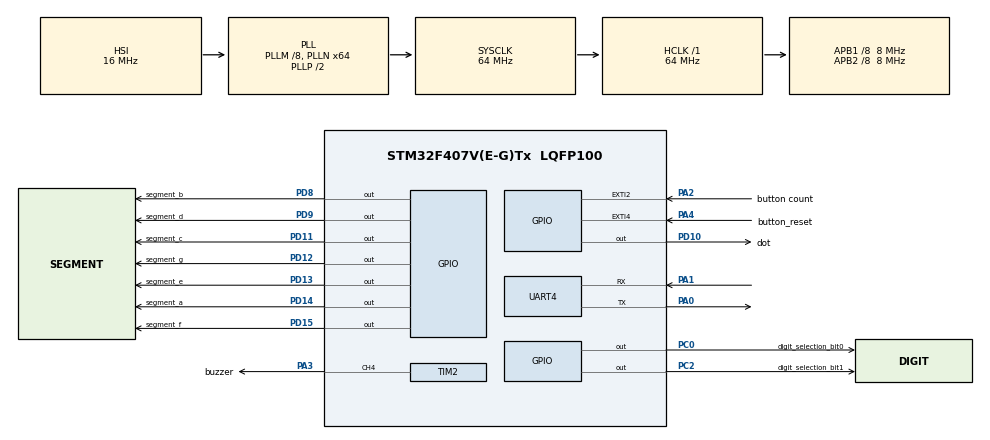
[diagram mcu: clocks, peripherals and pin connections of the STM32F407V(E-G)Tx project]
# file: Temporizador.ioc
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Mcu.Family=STM32F4
Mcu.Name=STM32F407V(E-G)Tx
Mcu.Package=LQFP100
NVIC.EXTI2_IRQn=true\:0\:0\:false\:false\:true\:true\:true\:true
NVIC.EXTI4_IRQn=true\:0\:0\:false\:false\:true\:true\:true\:true
NVIC.PriorityGroup=NVIC_PRIORITYGROUP_4
NVIC.TIM1_UP_TIM10_IRQn=true\:0\:0\:false\:false\:true\:true\:true\:true
NVIC.TIM2_IRQn=true\:0\:0\:false\:false\:true\:true\:true\:true
NVIC.UART4_IRQn=true\:0\:0\:false\:false\:true\:true\:true\:true
PA0-WKUP.Mode=Asynchronous
PA0-WKUP.Signal=UART4_TX
PA1.Mode=Asynchronous
PA1.Signal=UART4_RX
PA2.GPIO_Label=button count
PA2.GPIO_ModeDefaultEXTI=GPIO_MODE_IT_FALLING
PA2.Signal=GPXTI2
PA3.GPIO_Label=buzzer
PA3.Signal=S_TIM2_CH4
PA4.GPIO_Label=button_reset
PA4.GPIO_ModeDefaultEXTI=GPIO_MODE_IT_FALLING
PA4.Signal=GPXTI4
PC0.GPIO_Label=digit_selection_bit0
PC0.Signal=GPIO_Output
PC2.GPIO_Label=digit_selection_bit1
PC2.Signal=GPIO_Output
PD10.GPIO_Label=dot
PD10.Signal=GPIO_Output
PD11.GPIO_Label=segment_c
PD11.Signal=GPIO_Output
PD12.GPIO_Label=segment_g
PD12.Signal=GPIO_Output
PD13.GPIO_Label=segment_e
PD13.Signal=GPIO_Output
PD14.GPIO_Label=segment_a
PD14.Signal=GPIO_Output
PD15.GPIO_Label=segment_f
PD15.Signal=GPIO_Output
PD8.GPIO_Label=segment_b
PD8.Signal=GPIO_Output
PD9.GPIO_Label=segment_d
PD9.Signal=GPIO_Output
ProjectManager.HeapSize=0x200
ProjectManager.StackSize=0x400
ProjectManager.TargetToolchain=STM32CubeIDE
RCC.48MHZClocksFreq_Value=32000000
RCC.AHBFreq_Value=64000000
RCC.APB1CLKDivider=RCC_HCLK_DIV8
RCC.APB1Freq_Value=8000000
RCC.APB1TimFreq_Value=16000000
RCC.APB2CLKDivider=RCC_HCLK_DIV8
RCC.APB2Freq_Value=8000000
RCC.APB2TimFreq_Value=16000000
RCC.CortexFreq_Value=64000000
RCC.HCLKFreq_Value=64000000
RCC.HSE_VALUE=25000000
RCC.HSI_VALUE=16000000
RCC.LSE_VALUE=32768
RCC.PLLM=8
RCC.PLLN=64
RCC.SYSCLKFreq_VALUE=64000000
RCC.SYSCLKSource=RCC_SYSCLKSOURCE_PLLCLK
RCC.VCOOutputFreq_Value=128000000
SH.S_TIM2_CH4.0=TIM2_CH4,PWM Generation4 CH4
TIM1.Period=31999
TIM2.Channel-PWM\ Generation4\ CH4=TIM_CHANNEL_4
TIM2.Period=1730
TIM2.Prescaler=21
TIM2.Pulse-PWM\ Generation4\ CH4=865
UART4.VirtualMode=Asynchronous
VP_TIM1_VS_ClockSourceINT.Mode=Internal
VP_TIM2_VS_ClockSourceINT.Mode=Internal
board=custom

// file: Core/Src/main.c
/* USER CODE BEGIN Header */
/**
 ******************************************************************************
 * @file           : main.c
 * @brief          : Main program body
 ******************************************************************************
 * @attention
 *
 * Copyright (c) 2026 STMicroelectronics.
 * All rights reserved.
 *
 * This software is licensed under terms that can be found in the LICENSE file
 * in the root directory of this software component.
 * If no LICENSE file comes with this software, it is provided AS-IS.
 *
 ******************************************************************************
 */
/* USER CODE END Header */
#include "main.h"

/* USER CODE BEGIN Includes */
#include <string.h>
#include "display.h"
#include "timer.h"
#include "button.h"
#include "comunication.h" // UART protocole logic
#include "buzzer.h"
#include "instructions.h"
/* USER CODE END Includes */

TIM_HandleTypeDef htim1;
TIM_HandleTypeDef htim2;

UART_HandleTypeDef huart4;

void SystemClock_Config(void);
static void MX_GPIO_Init(void);
static void MX_TIM1_Init(void);
static void MX_UART4_Init(void);
static void MX_TIM2_Init(void);

/* USER CODE BEGIN 0 */
Display display;
Timer timer;
Button count;
Button reset;
Comunication comunication;
Buzzer buzzer;
/* USER CODE END 0 */

int main(void)
{

	/* MCU Configuration--------------------------------------------------------*/

	/* Reset of all peripherals, Initializes the Flash interface and the Systick. */
	HAL_Init();

	/* Configure the system clock */
	SystemClock_Config();

	/* USER CODE BEGIN SysInit */

	// Initialize software structures and state machines
	timer = timer_new(&htim1, 0);
	display = display_new();
	count = button_new(button_count_GPIO_Port, button_count_Pin);
	reset = button_new(button_reset_GPIO_Port, button_reset_Pin);
	comunication = comunication_new(&huart4);
	buzzer = buzzer_new(&htim2, TIM_CHANNEL_4);

	/* USER CODE END SysInit */

	/* Initialize all configured peripherals */
	MX_GPIO_Init();
	MX_TIM1_Init();
	MX_UART4_Init();
	MX_TIM2_Init();
	/* USER CODE BEGIN 2 */

	// Now it is safe for the timer to fire, because everything it needs is ready.
	timer_ready(&timer);

	comunication_ready(&comunication);
	comunication_send(&comunication, "CONNECTED\n");

	/* USER CODE END 2 */

	/* Infinite loop */
	while (1)
	{

		/* USER CODE BEGIN 3 */
		char data [BUFFER_SIZE];
		strcpy(data, comunication_get_data(&comunication));
		char last_byte = comunication.recived_byte;

		if (last_byte == '\0' && strlen(data) > 0)
		{
			// Limpiar el buffer para recibir el próximo mensaje desde cero
			comunication_clear_buffer(&comunication);

			// Traducir el string al comando correspondiente (Enum Instruction)
			Instruction cmd = instruction_read(data);

			// Ejecutar la acción sobre el temporizador y la UART
			if(cmd == INVALID)
			{
				comunication_send(&comunication, "INVALID INSTRUCTION\n");
			}
			else
			{
				instruction_execute(cmd, data, &timer, &comunication);
				if(cmd == RESET_TIMER)
				{
					buzzer_off(&buzzer);
				}
				comunication_send(&comunication, "OK\n");
			}
		}

	}
	/* USER CODE END 3 */
}

void SystemClock_Config(void)
{
	RCC_OscInitTypeDef RCC_OscInitStruct = {0};
	RCC_ClkInitTypeDef RCC_ClkInitStruct = {0};

	/** Configure the main internal regulator output voltage
	 */
	__HAL_RCC_PWR_CLK_ENABLE();
	__HAL_PWR_VOLTAGESCALING_CONFIG(PWR_REGULATOR_VOLTAGE_SCALE1);

	/** Initializes the RCC Oscillators according to the specified parameters
	 * in the RCC_OscInitTypeDef structure.
	 */
	RCC_OscInitStruct.OscillatorType = RCC_OSCILLATORTYPE_HSI;
	RCC_OscInitStruct.HSIState = RCC_HSI_ON;
	RCC_OscInitStruct.HSICalibrationValue = RCC_HSICALIBRATION_DEFAULT;
	RCC_OscInitStruct.PLL.PLLState = RCC_PLL_ON;
	RCC_OscInitStruct.PLL.PLLSource = RCC_PLLSOURCE_HSI;
	RCC_OscInitStruct.PLL.PLLM = 8;
	RCC_OscInitStruct.PLL.PLLN = 64;
	RCC_OscInitStruct.PLL.PLLP = RCC_PLLP_DIV2;
	RCC_OscInitStruct.PLL.PLLQ = 4;
	if (HAL_RCC_OscConfig(&RCC_OscInitStruct) != HAL_OK)
	{
		Error_Handler();
	}

	/** Initializes the CPU, AHB and APB buses clocks
	 */
	RCC_ClkInitStruct.ClockType = RCC_CLOCKTYPE_HCLK|RCC_CLOCKTYPE_SYSCLK
			|RCC_CLOCKTYPE_PCLK1|RCC_CLOCKTYPE_PCLK2;
	RCC_ClkInitStruct.SYSCLKSource = RCC_SYSCLKSOURCE_PLLCLK;
	RCC_ClkInitStruct.AHBCLKDivider = RCC_SYSCLK_DIV1;
	RCC_ClkInitStruct.APB1CLKDivider = RCC_HCLK_DIV8;
	RCC_ClkInitStruct.APB2CLKDivider = RCC_HCLK_DIV8;

	if (HAL_RCC_ClockConfig(&RCC_ClkInitStruct, FLASH_LATENCY_2) != HAL_OK)
	{
		Error_Handler();
	}
}

static void MX_TIM1_Init(void)
{

	TIM_ClockConfigTypeDef sClockSourceConfig = {0};
	TIM_MasterConfigTypeDef sMasterConfig = {0};

	htim1.Instance = TIM1;
	htim1.Init.Prescaler = 0;
	htim1.Init.CounterMode = TIM_COUNTERMODE_UP;
	htim1.Init.Period = 31999;
	htim1.Init.ClockDivision = TIM_CLOCKDIVISION_DIV1;
	htim1.Init.RepetitionCounter = 0;
	htim1.Init.AutoReloadPreload = TIM_AUTORELOAD_PRELOAD_DISABLE;
	if (HAL_TIM_Base_Init(&htim1) != HAL_OK)
	{
		Error_Handler();
	}
	sClockSourceConfig.ClockSource = TIM_CLOCKSOURCE_INTERNAL;
	if (HAL_TIM_ConfigClockSource(&htim1, &sClockSourceConfig) != HAL_OK)
	{
		Error_Handler();
	}
	sMasterConfig.MasterOutputTrigger = TIM_TRGO_RESET;
	sMasterConfig.MasterSlaveMode = TIM_MASTERSLAVEMODE_DISABLE;
	if (HAL_TIMEx_MasterConfigSynchronization(&htim1, &sMasterConfig) != HAL_OK)
	{
		Error_Handler();
	}

}

static void MX_TIM2_Init(void)
{

	TIM_ClockConfigTypeDef sClockSourceConfig = {0};
	TIM_MasterConfigTypeDef sMasterConfig = {0};
	TIM_OC_InitTypeDef sConfigOC = {0};

	htim2.Instance = TIM2;
	htim2.Init.Prescaler = 21;
	htim2.Init.CounterMode = TIM_COUNTERMODE_UP;
	htim2.Init.Period = 1730;
	htim2.Init.ClockDivision = TIM_CLOCKDIVISION_DIV1;
	htim2.Init.AutoReloadPreload = TIM_AUTORELOAD_PRELOAD_DISABLE;
	if (HAL_TIM_Base_Init(&htim2) != HAL_OK)
	{
		Error_Handler();
	}
	sClockSourceConfig.ClockSource = TIM_CLOCKSOURCE_INTERNAL;
	if (HAL_TIM_ConfigClockSource(&htim2, &sClockSourceConfig) != HAL_OK)
	{
		Error_Handler();
	}
	if (HAL_TIM_PWM_Init(&htim2) != HAL_OK)
	{
		Error_Handler();
	}
	sMasterConfig.MasterOutputTrigger = TIM_TRGO_RESET;
	sMasterConfig.MasterSlaveMode = TIM_MASTERSLAVEMODE_DISABLE;
	if (HAL_TIMEx_MasterConfigSynchronization(&htim2, &sMasterConfig) != HAL_OK)
	{
		Error_Handler();
	}
	sConfigOC.OCMode = TIM_OCMODE_PWM1;
	sConfigOC.Pulse = 865;
	sConfigOC.OCPolarity = TIM_OCPOLARITY_HIGH;
	sConfigOC.OCFastMode = TIM_OCFAST_DISABLE;
	if (HAL_TIM_PWM_ConfigChannel(&htim2, &sConfigOC, TIM_CHANNEL_4) != HAL_OK)
	{
		Error_Handler();
	}
	HAL_TIM_MspPostInit(&htim2);

}

static void MX_UART4_Init(void)
{

	huart4.Instance = UART4;
	huart4.Init.BaudRate = 115200;
	huart4.Init.WordLength = UART_WORDLENGTH_8B;
	huart4.Init.StopBits = UART_STOPBITS_1;
	huart4.Init.Parity = UART_PARITY_NONE;
	huart4.Init.Mode = UART_MODE_TX_RX;
	huart4.Init.HwFlowCtl = UART_HWCONTROL_NONE;
	huart4.Init.OverSampling = UART_OVERSAMPLING_16;
	if (HAL_UART_Init(&huart4) != HAL_OK)
	{
		Error_Handler();
	}

}

static void MX_GPIO_Init(void)
{
	GPIO_InitTypeDef GPIO_InitStruct = {0};

	/* GPIO Ports Clock Enable */
	__HAL_RCC_GPIOC_CLK_ENABLE();
	__HAL_RCC_GPIOA_CLK_ENABLE();
	__HAL_RCC_GPIOD_CLK_ENABLE();

	/*Configure GPIO pin Output Level */
	HAL_GPIO_WritePin(GPIOC, digit_selection_bit0_Pin|digit_selection_bit1_Pin, GPIO_PIN_RESET);

	/*Configure GPIO pin Output Level */
	HAL_GPIO_WritePin(GPIOD, segment_b_Pin|segment_d_Pin|dot_Pin|segment_c_Pin
			|segment_g_Pin|segment_e_Pin|segment_a_Pin|segment_f_Pin, GPIO_PIN_RESET);

	/*Configure GPIO pins : digit_selection_bit0_Pin digit_selection_bit1_Pin */
	GPIO_InitStruct.Pin = digit_selection_bit0_Pin|digit_selection_bit1_Pin;
	GPIO_InitStruct.Mode = GPIO_MODE_OUTPUT_PP;
	GPIO_InitStruct.Pull = GPIO_NOPULL;
	GPIO_InitStruct.Speed = GPIO_SPEED_FREQ_LOW;
	HAL_GPIO_Init(GPIOC, &GPIO_InitStruct);

	/*Configure GPIO pins : button_count_Pin button_reset_Pin */
	GPIO_InitStruct.Pin = button_count_Pin|button_reset_Pin;
	GPIO_InitStruct.Mode = GPIO_MODE_IT_FALLING;
	GPIO_InitStruct.Pull = GPIO_NOPULL;
	HAL_GPIO_Init(GPIOA, &GPIO_InitStruct);

	/*Configure GPIO pins : segment_b_Pin segment_d_Pin dot_Pin segment_c_Pin
                           segment_g_Pin segment_e_Pin segment_a_Pin segment_f_Pin */
	GPIO_InitStruct.Pin = segment_b_Pin|segment_d_Pin|dot_Pin|segment_c_Pin
			|segment_g_Pin|segment_e_Pin|segment_a_Pin|segment_f_Pin;
	GPIO_InitStruct.Mode = GPIO_MODE_OUTPUT_PP;
	GPIO_InitStruct.Pull = GPIO_NOPULL;
	GPIO_InitStruct.Speed = GPIO_SPEED_FREQ_LOW;
	HAL_GPIO_Init(GPIOD, &GPIO_InitStruct);

	/* EXTI interrupt init*/
	HAL_NVIC_SetPriority(EXTI2_IRQn, 0, 0);
	HAL_NVIC_EnableIRQ(EXTI2_IRQn);

	HAL_NVIC_SetPriority(EXTI4_IRQn, 0, 0);
	HAL_NVIC_EnableIRQ(EXTI4_IRQn);

}

/* USER CODE BEGIN 4 */
void HAL_TIM_PeriodElapsedCallback(TIM_HandleTypeDef *htim) {
	// Identify the timer
	if(htim->Instance == TIM1)
	{
		int display_block = display.current_block;
		// Represent digits starting for seconds
		int digit = 0;

		if(display_block == 0 || display_block == 1)
		{
			digit = timer_get_seconds_digit(&timer, display_block);
		}
		else if(display_block == 2 || display_block == 3)
		{
			digit = timer_get_minutes_digit(&timer, display_block-2);
		}

		display_show(&display, digit);
		display_next_block(&display);

		bool counting = timer_is_counting(&timer);
		bool finished = timer_is_finished(&timer);
		bool buzzing  = buzzer_is_on(&buzzer);

		if (counting)
		{
			timer_substract(&timer, TIMER_REFRESH_RATE);
		}
		else if (finished && !buzzing)
		{
			buzzer_on(&buzzer);
		}
	}
}
void HAL_GPIO_EXTI_Callback(uint16_t GPIO_Pin)
{
	if(GPIO_Pin == count.input_pin.pin)
	{
		if(button_check_pressed(&count))
		{
			bool timer_running = timer_is_counting(&timer);
			if(timer_running)
			{
				timer_pause(&timer);
			}
			else
			{
				timer_start(&timer);
			}
		}
	}
	else if(GPIO_Pin == reset.input_pin.pin)
	{
		if(button_check_pressed(&reset) && timer_is_counting(&timer) == false)
		{
			timer_reset(&timer);
			buzzer_off(&buzzer);
			do_set_timer("set", &timer);
		}
	}
}

void HAL_UART_RxCpltCallback(UART_HandleTypeDef *huart)
{
	if (huart->Instance == UART4)
	{
		// Byte arrived, store it on the buffer
		comunication_store_byte(&comunication);

		// Set the comunication for the next byte
		comunication_ready(&comunication);
	}
}
/* USER CODE END 4 */

void Error_Handler(void)
{
	__disable_irq();
	while (1)
	{
	}
}
